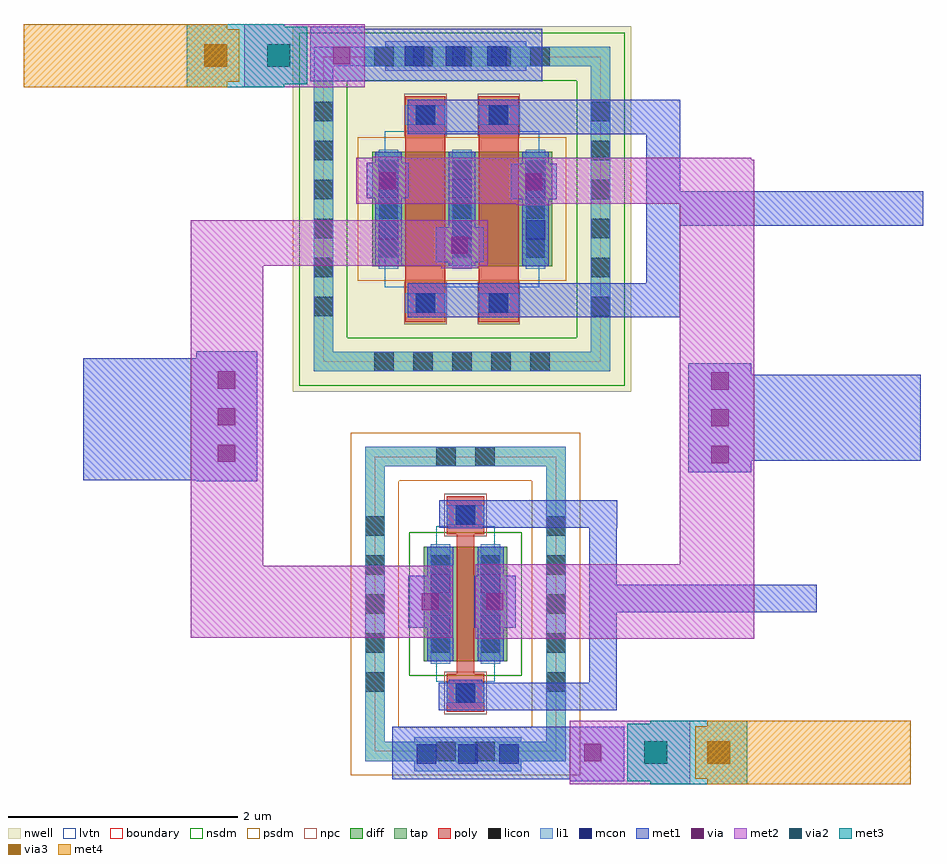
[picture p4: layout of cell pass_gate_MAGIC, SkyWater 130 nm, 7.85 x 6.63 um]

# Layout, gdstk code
from math import pi, radians
import gdstk
lib = gdstk.Library(unit=1e-6, precision=1e-09)
def R(c, l, rs):  # rectangles x0, y0, x1, y1
    for r in rs: c.add(gdstk.rectangle(r[:2], r[2:], *l))
def A(c, l, x, y, w, h, nx, ny, dx, dy):  # array of equal rectangles
    R(c, l, [(x+i*dx, y+j*dy, x+i*dx+w, y+j*dy+h) for i in range(nx) for j in range(ny)])
nwell = (64, 20)
diff = (65, 20)
tap = (65, 44)
poly = (66, 20)
licon = (66, 44)
li1 = (67, 20)
mcon = (67, 44)
met1 = (68, 20)
via = (68, 44)
met2 = (69, 20)
via2 = (69, 44)
met3 = (70, 20)
via3 = (70, 44)
met4 = (71, 20)
nsdm = (93, 44)
psdm = (94, 20)
npc = (95, 20)
lvtn = (125, 44)
boundary = (235, 4)

sky130_fd_pr__pfet_01v8_ = lib.new_cell('sky130_fd_pr__pfet_01v8_lvt_4Q3NH3')
R(sky130_fd_pr__pfet_01v8_, nwell, [(-1.475,-1.595,1.475,1.595)])
R(sky130_fd_pr__pfet_01v8_, diff, [(-0.785,-0.5,0.785,0.5)])
R(sky130_fd_pr__pfet_01v8_, tap, [(-1.295,-1.415,1.295,-1.245), (-1.295,-1.245,-1.125,1.245), (1.125,-1.245,1.295,1.245), (-1.295,1.245,1.295,1.415)])
R(sky130_fd_pr__pfet_01v8_, poly, [(-0.495,-0.985,-0.145,0.985), (0.145,-0.985,0.495,0.985)])
A(sky130_fd_pr__pfet_01v8_, licon, -0.765, -1.415, 0.17, 0.17, 5, 2, 0.34, 2.66)
A(sky130_fd_pr__pfet_01v8_, licon, -1.295, -0.935, 0.17, 0.17, 1, 6, 0, 0.34)
A(sky130_fd_pr__pfet_01v8_, licon, 1.125, -0.935, 0.17, 0.17, 1, 6, 0, 0.34)
A(sky130_fd_pr__pfet_01v8_, licon, -0.725, -0.425, 0.17, 0.17, 3, 3, 0.64, 0.34)
R(sky130_fd_pr__pfet_01v8_, licon, [(-0.405,-0.905,-0.235,-0.735), (0.235,-0.905,0.405,-0.735), (-0.405,0.735,-0.235,0.905), (0.235,0.735,0.405,0.905)])
A(sky130_fd_pr__pfet_01v8_, li1, -0.725, -0.52, 0.17, 1.04, 3, 1, 0.64, 0)
R(sky130_fd_pr__pfet_01v8_, li1, [(-1.295,-1.415,1.295,-1.245), (-1.295,-1.245,-1.125,1.245), (1.125,-1.245,1.295,1.245), (-0.495,-0.905,-0.145,-0.735), (0.145,-0.905,0.495,-0.735), (-0.495,0.735,-0.145,0.905), (0.145,0.735,0.495,0.905), (-1.295,1.245,1.295,1.415)])
A(sky130_fd_pr__pfet_01v8_, mcon, -0.725, -0.265, 0.17, 0.17, 3, 2, 0.64, 0.36)
R(sky130_fd_pr__pfet_01v8_, mcon, [(-0.405,-0.905,-0.235,-0.735), (0.235,-0.905,0.405,-0.735), (-0.405,0.735,-0.235,0.905), (0.235,0.735,0.405,0.905)])
A(sky130_fd_pr__pfet_01v8_, met1, -0.755, -0.5, 0.23, 1, 3, 1, 0.64, 0)
R(sky130_fd_pr__pfet_01v8_, met1, [(-0.475,-0.935,-0.165,-0.705), (0.165,-0.935,0.475,-0.705), (-0.475,0.705,-0.165,0.935), (0.165,0.705,0.475,0.935)])
R(sky130_fd_pr__pfet_01v8_, nsdm, [(-1.42,-1.54,1.42,-1.12), (-1.42,-1.12,-1,1.12), (1,-1.12,1.42,1.12), (-1.42,1.12,1.42,1.54)])
R(sky130_fd_pr__pfet_01v8_, psdm, [(-0.91,-0.625,0.91,0.625)])
R(sky130_fd_pr__pfet_01v8_, npc, [(-0.505,-1.005,-0.135,-0.635), (0.135,-1.005,0.505,-0.635), (-0.505,0.635,-0.135,1.005), (0.135,0.635,0.505,1.005)])
R(sky130_fd_pr__pfet_01v8_, lvtn, [(-0.675,-0.68,0.675,0.68)])
R(sky130_fd_pr__pfet_01v8_, boundary, [(-1.21,-1.33,1.21,1.33)])

sky130_fd_pr__nfet_01v8_ = lib.new_cell('sky130_fd_pr__nfet_01v8_lvt_648S5X')
R(sky130_fd_pr__nfet_01v8_, diff, [(-0.365,-0.5,0.365,0.5)])
R(sky130_fd_pr__nfet_01v8_, tap, [(-0.875,-1.37,0.875,-1.2), (-0.875,-1.2,-0.705,1.2), (0.705,-1.2,0.875,1.2), (-0.875,1.2,0.875,1.37)])
R(sky130_fd_pr__nfet_01v8_, poly, [(-0.165,-0.94,0.165,-0.61), (-0.075,-0.61,0.075,0.61), (-0.165,0.61,0.165,0.94)])
A(sky130_fd_pr__nfet_01v8_, licon, -0.875, -0.765, 0.17, 0.17, 1, 5, 0, 0.34)
A(sky130_fd_pr__nfet_01v8_, licon, 0.705, -0.765, 0.17, 0.17, 1, 5, 0, 0.34)
A(sky130_fd_pr__nfet_01v8_, licon, -0.305, -0.425, 0.17, 0.17, 1, 3, 0, 0.34)
A(sky130_fd_pr__nfet_01v8_, licon, 0.135, -0.425, 0.17, 0.17, 1, 3, 0, 0.34)
R(sky130_fd_pr__nfet_01v8_, licon, [(-0.255,-1.37,-0.085,-1.2), (0.085,-1.37,0.255,-1.2), (-0.085,-0.86,0.085,-0.69), (-0.085,0.69,0.085,0.86), (-0.255,1.2,-0.085,1.37), (0.085,1.2,0.255,1.37)])
R(sky130_fd_pr__nfet_01v8_, li1, [(-0.875,-1.37,0.875,-1.2), (-0.875,-1.2,-0.705,1.2), (0.705,-1.2,0.875,1.2), (-0.165,-0.86,0.165,-0.69), (-0.305,-0.52,-0.135,0.52), (0.135,-0.52,0.305,0.52), (-0.165,0.69,0.165,0.86), (-0.875,1.2,0.875,1.37)])
R(sky130_fd_pr__nfet_01v8_, mcon, [(-0.085,-0.86,0.085,-0.69), (-0.305,-0.265,-0.135,-0.095), (0.135,-0.265,0.305,-0.095), (-0.305,0.095,-0.135,0.265), (0.135,0.095,0.305,0.265), (-0.085,0.69,0.085,0.86)])
R(sky130_fd_pr__nfet_01v8_, met1, [(-0.145,-0.89,0.145,-0.66), (-0.335,-0.5,-0.105,0.5), (0.105,-0.5,0.335,0.5), (-0.145,0.66,0.145,0.89)])
R(sky130_fd_pr__nfet_01v8_, nsdm, [(-0.49,-0.625,0.49,0.625)])
R(sky130_fd_pr__nfet_01v8_, psdm, [(-1,-1.495,1,-1.075), (-1,-1.075,-0.58,1.075), (0.58,-1.075,1,1.075), (-1,1.075,1,1.495)])
R(sky130_fd_pr__nfet_01v8_, npc, [(-0.185,-0.96,0.185,-0.59), (-0.185,0.59,0.185,0.96)])
R(sky130_fd_pr__nfet_01v8_, lvtn, [(-0.255,-0.68,0.255,0.68)])
R(sky130_fd_pr__nfet_01v8_, boundary, [(-0.79,-1.285,0.79,1.285)])

pass_gate_magic = lib.new_cell('pass_gate_MAGIC')
R(pass_gate_magic, li1, [(2.61,-0.91,3.54,-0.61), (2.355,5.2,3.585,5.46)])
A(pass_gate_magic, mcon, 2.63, -0.845, 0.17, 0.17, 3, 1, 0.36, 0)
A(pass_gate_magic, mcon, 2.525, 5.245, 0.17, 0.17, 3, 1, 0.36, 0)
R(pass_gate_magic, met1, [(3.965,-0.995,4.44,-0.98), (2.415,-0.98,4.44,-0.52), (2.82,-0.375,4.375,-0.135), (4.135,-0.135,4.375,0.48), (2.555,0.345,2.945,0.795), (3.13,0.345,3.495,0.795), (4.135,0.48,6.12,0.72), (4.135,0.72,4.375,1.215), (2.825,1.215,4.38,1.455), (0.705,1.62,1.24,1.63), (-0.28,1.63,1.24,2.695), (5,1.7,5.55,1.8), (5,1.8,7.025,2.55), (5,2.55,5.55,2.65), (0.705,2.695,1.24,2.755), (2.55,3.05,4.93,3.35), (4.63,3.35,4.93,3.85), (2.795,3.53,3.215,3.835), (4.63,3.85,7.05,4.15), (3.45,4.08,3.85,4.39), (2.195,4.09,2.56,4.4), (4.63,4.15,4.93,4.65), (2.55,4.65,4.93,4.95), (1.7,5.11,3.725,5.57), (1.7,5.57,2.175,5.585)])
A(pass_gate_magic, via, 5.2, 1.78, 0.15, 0.15, 1, 3, 0, 0.32)
A(pass_gate_magic, via, 0.895, 1.79, 0.15, 0.15, 1, 3, 0, 0.32)
R(pass_gate_magic, via, [(4.09,-0.82,4.24,-0.67), (2.675,0.495,2.825,0.645), (3.235,0.495,3.385,0.645), (2.93,3.605,3.08,3.755), (3.575,4.16,3.725,4.31), (2.3,4.17,2.45,4.32), (1.9,5.26,2.05,5.41)])
R(pass_gate_magic, met2, [(3.965,-1.02,5.015,-0.47), (3.14,0.245,5.575,0.895), (0.66,0.255,2.945,0.885), (0.66,0.885,1.29,3.5), (4.925,0.895,5.575,4.04), (2.845,3.48,3.165,3.5), (0.66,3.5,3.25,3.9), (3.5,4.03,3.8,4.04), (2.1,4.04,5.575,4.425), (2.1,4.425,5.55,4.445), (2.245,4.445,2.51,4.45), (1.125,5.06,2.175,5.61)])
R(pass_gate_magic, via2, [(4.615,-0.845,4.815,-0.645), (1.325,5.235,1.525,5.435)])
R(pass_gate_magic, met3, [(4.665,-1.02,5.515,-0.995), (4.465,-0.995,5.515,-0.495), (4.665,-0.495,5.515,-0.47), (0.625,5.06,1.475,5.085), (0.625,5.085,1.675,5.585), (0.625,5.585,1.475,5.61)])
R(pass_gate_magic, via3, [(5.165,-0.845,5.365,-0.645), (0.775,5.235,0.975,5.435)])
R(pass_gate_magic, met4, [(5.165,-1.02,6.94,-0.975), (5.06,-0.975,6.94,-0.515), (5.165,-0.515,6.94,-0.47), (-0.8,5.06,0.975,5.105), (-0.8,5.105,1.08,5.565), (-0.8,5.565,0.975,5.61)])
pass_gate_magic.add(gdstk.Reference(sky130_fd_pr__pfet_01v8_, (3.025,3.995), rotation=pi))
pass_gate_magic.add(gdstk.Reference(sky130_fd_pr__nfet_01v8_, (3.055,0.55), rotation=pi))

lib.write_gds('pass_gate_MAGIC.gds')
